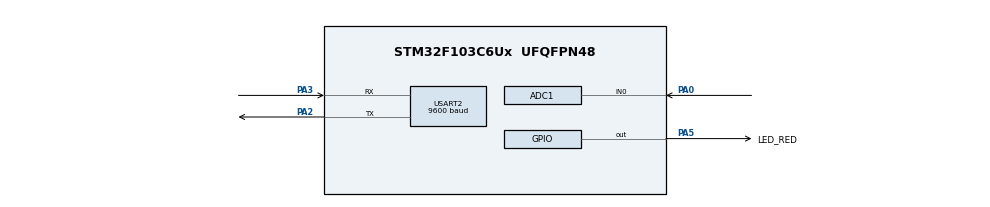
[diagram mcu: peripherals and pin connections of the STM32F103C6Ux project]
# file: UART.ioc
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ADC1.Channel-0\#ChannelRegularConversion=ADC_CHANNEL_0
ADC1.ContinuousConvMode=ENABLE
ADC1.NbrOfConversionFlag=1
ADC1.Rank-0\#ChannelRegularConversion=1
ADC1.SamplingTime-0\#ChannelRegularConversion=ADC_SAMPLETIME_1CYCLE_5
ADC1.master=1
Mcu.Family=STM32F1
Mcu.Name=STM32F103C6Ux
Mcu.Package=UFQFPN48
NVIC.PriorityGroup=NVIC_PRIORITYGROUP_4
NVIC.TIM2_IRQn=true\:0\:0\:false\:false\:true\:true\:true\:true
NVIC.USART2_IRQn=true\:0\:0\:false\:false\:true\:true\:true\:true
PA0-WKUP.Signal=ADCx_IN0
PA2.Mode=Asynchronous
PA2.Signal=USART2_TX
PA3.Mode=Asynchronous
PA3.Signal=USART2_RX
PA5.GPIO_Label=LED_RED
PA5.Signal=GPIO_Output
ProjectManager.HeapSize=0x200
ProjectManager.StackSize=0x400
ProjectManager.TargetToolchain=STM32CubeIDE
RCC.APB1Freq_Value=8000000
RCC.APB2Freq_Value=8000000
SH.ADCx_IN0.0=ADC1_IN0,IN0
TIM2.Period=9
TIM2.Prescaler=7999
USART2.BaudRate=9600
USART2.VirtualMode=VM_ASYNC
VP_SYS_VS_ND.Mode=No_Debug
VP_TIM2_VS_ClockSourceINT.Mode=Internal
board=custom

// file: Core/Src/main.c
/* USER CODE BEGIN Header */
/**
  ******************************************************************************
  * @file           : main.c
  * @brief          : Main program body
  ******************************************************************************
  * @attention
  *
  * <h2><center>&copy; Copyright (c) 2024 STMicroelectronics.
  * All rights reserved.</center></h2>
  *
  * This software component is licensed by ST under BSD 3-Clause license,
  * the "License"; You may not use this file except in compliance with the
  * License. You may obtain a copy of the License at:
  *                        opensource.org/licenses/BSD-3-Clause
  *
  ******************************************************************************
  */
/* USER CODE END Header */
#include "main.h"

/* USER CODE BEGIN Includes */
#include "string.h"
#include "stdio.h"
#include "software_timer.h"
/* USER CODE END Includes */

ADC_HandleTypeDef hadc1;

TIM_HandleTypeDef htim2;

UART_HandleTypeDef huart2;

void SystemClock_Config(void);
static void MX_GPIO_Init(void);
static void MX_ADC1_Init(void);
static void MX_USART2_UART_Init(void);
static void MX_TIM2_Init(void);

/* USER CODE BEGIN 0 */
#define MAX_BUFFER 100
uint8_t temp_char = 0;
uint8_t buffer[MAX_BUFFER];
uint8_t index_buffer = 0;
uint8_t buffer_flag = 0;
uint32_t VALUE_ADC = 0;

uint8_t command_flag= 0; //
uint8_t command_data_idx;
uint8_t command_data[10];

// STATUS
uint8_t command_parser_status = 0 ; // 1 = read command, 0 = nothing
uint8_t uart_communiations_status = 0; // 0 = Nothing , 1 = TRANSMITS

void command_parser_fsm(){		//Xử lý dữ liệu nhận từ UART và nhận diện lệnh.
	switch (command_parser_status){
	case 0:{
		if(temp_char==33){ //!=33
			command_parser_status = 1;
			command_flag= 0;
			for(uint8_t i =0;i<10;i++){
				command_data[i] = 0;
			}
			command_data_idx = 0;
		}
		break;
	}
	case 1:{
		if(temp_char == 35){ // # =35
			command_parser_status = 0;
			command_flag= 1;
		}
		if(temp_char == 33){
			for(uint8_t i =0;i<=command_data_idx;i++){
				command_data[i] = 0;
			}
			command_data_idx=0;
		}
		if(temp_char != 35 && temp_char != 33){ //nội dung nhập
			command_data[command_data_idx++]=temp_char;
		}
		break;
	}
	default : break;
}
}

void uart_communiation_fsm(){
	char str[50];
	switch (uart_communiations_status){
		case 0:
			if(command_flag ==1){
				command_flag=0;
				if(!strcmp((const char *)command_data, "RST")){
					HAL_UART_Transmit(&huart2, (const uint8_t *)"\n\r",2, 100);
					HAL_ADC_Start(&hadc1);
					VALUE_ADC = HAL_ADC_GetValue(&hadc1);
					sprintf(str, "!ADC=%ld#\n\r", VALUE_ADC);
					HAL_UART_Transmit(&huart2, (uint8_t*)str, strlen(str), 100);
					uart_communiations_status = 1;
					setTimer0(300);
				}
				else{
					HAL_UART_Transmit(&huart2, (const uint8_t *)"Command not valid\n\r",18, 100);
				}
			}

			break;
		case 1:
			if(command_flag == 1 && strcmp((const char *)command_data, "OK")==0){
				HAL_UART_Transmit(&huart2, (const uint8_t *)" Xin chao thay Dat dep trai\n\r",50, 100);
				command_flag=0;
				uart_communiations_status = 0;
			}
			if(timer0_flag==1){
				setTimer0(300);
				char str[20];
				sprintf(str, "!ADC=%ld#\n\r", VALUE_ADC);
				HAL_UART_Transmit(&huart2, (uint8_t*)str, strlen(str), 100);
			}
			break;

		default :
			break;
	};
}

/* USER CODE END 0 */

int main(void)
{

  /* MCU Configuration--------------------------------------------------------*/

  /* Reset of all peripherals, Initializes the Flash interface and the Systick. */
  HAL_Init();

  /* Configure the system clock */
  SystemClock_Config();

  /* Initialize all configured peripherals */
  MX_GPIO_Init();
  MX_ADC1_Init();
  MX_USART2_UART_Init();
  MX_TIM2_Init();
  /* USER CODE BEGIN 2 */
  HAL_ADC_Start(&hadc1);
  HAL_TIM_Base_Start_IT (& htim2 );
  HAL_UART_Receive_IT (& huart2 , &temp_char , 1);
  //HAL_TIM_Base_Start_IT (& htim2 );
  setTimer0(100);
  /* USER CODE END 2 */

  /* Infinite loop */
  while (1)
  {

    /* USER CODE BEGIN 3 */
  	  if(buffer_flag == 1){
  		  command_parser_fsm();
  		  buffer_flag = 0;
  	  }
  	   uart_communiation_fsm();

  }
  /* USER CODE END 3 */
}

void SystemClock_Config(void)
{
  RCC_OscInitTypeDef RCC_OscInitStruct = {0};
  RCC_ClkInitTypeDef RCC_ClkInitStruct = {0};
  RCC_PeriphCLKInitTypeDef PeriphClkInit = {0};

  /** Initializes the RCC Oscillators according to the specified parameters
  * in the RCC_OscInitTypeDef structure.
  */
  RCC_OscInitStruct.OscillatorType = RCC_OSCILLATORTYPE_HSI;
  RCC_OscInitStruct.HSIState = RCC_HSI_ON;
  RCC_OscInitStruct.HSICalibrationValue = RCC_HSICALIBRATION_DEFAULT;
  RCC_OscInitStruct.PLL.PLLState = RCC_PLL_NONE;
  if (HAL_RCC_OscConfig(&RCC_OscInitStruct) != HAL_OK)
  {
    Error_Handler();
  }

  /** Initializes the CPU, AHB and APB buses clocks
  */
  RCC_ClkInitStruct.ClockType = RCC_CLOCKTYPE_HCLK|RCC_CLOCKTYPE_SYSCLK
                              |RCC_CLOCKTYPE_PCLK1|RCC_CLOCKTYPE_PCLK2;
  RCC_ClkInitStruct.SYSCLKSource = RCC_SYSCLKSOURCE_HSI;
  RCC_ClkInitStruct.AHBCLKDivider = RCC_SYSCLK_DIV1;
  RCC_ClkInitStruct.APB1CLKDivider = RCC_HCLK_DIV1;
  RCC_ClkInitStruct.APB2CLKDivider = RCC_HCLK_DIV1;

  if (HAL_RCC_ClockConfig(&RCC_ClkInitStruct, FLASH_LATENCY_0) != HAL_OK)
  {
    Error_Handler();
  }
  PeriphClkInit.PeriphClockSelection = RCC_PERIPHCLK_ADC;
  PeriphClkInit.AdcClockSelection = RCC_ADCPCLK2_DIV2;
  if (HAL_RCCEx_PeriphCLKConfig(&PeriphClkInit) != HAL_OK)
  {
    Error_Handler();
  }
}

static void MX_ADC1_Init(void)
{

  ADC_ChannelConfTypeDef sConfig = {0};

  /** Common config
  */
  hadc1.Instance = ADC1;
  hadc1.Init.ScanConvMode = ADC_SCAN_DISABLE;
  hadc1.Init.ContinuousConvMode = DISABLE;
  hadc1.Init.DiscontinuousConvMode = DISABLE;
  hadc1.Init.ExternalTrigConv = ADC_SOFTWARE_START;
  hadc1.Init.DataAlign = ADC_DATAALIGN_RIGHT;
  hadc1.Init.NbrOfConversion = 1;
  if (HAL_ADC_Init(&hadc1) != HAL_OK)
  {
    Error_Handler();
  }

  /** Configure Regular Channel
  */
  sConfig.Channel = ADC_CHANNEL_0;
  sConfig.Rank = ADC_REGULAR_RANK_1;
  sConfig.SamplingTime = ADC_SAMPLETIME_1CYCLE_5;
  if (HAL_ADC_ConfigChannel(&hadc1, &sConfig) != HAL_OK)
  {
    Error_Handler();
  }

}

static void MX_TIM2_Init(void)
{

  TIM_ClockConfigTypeDef sClockSourceConfig = {0};
  TIM_MasterConfigTypeDef sMasterConfig = {0};

  htim2.Instance = TIM2;
  htim2.Init.Prescaler = 7999;
  htim2.Init.CounterMode = TIM_COUNTERMODE_UP;
  htim2.Init.Period = 9;
  htim2.Init.ClockDivision = TIM_CLOCKDIVISION_DIV1;
  htim2.Init.AutoReloadPreload = TIM_AUTORELOAD_PRELOAD_DISABLE;
  if (HAL_TIM_Base_Init(&htim2) != HAL_OK)
  {
    Error_Handler();
  }
  sClockSourceConfig.ClockSource = TIM_CLOCKSOURCE_INTERNAL;
  if (HAL_TIM_ConfigClockSource(&htim2, &sClockSourceConfig) != HAL_OK)
  {
    Error_Handler();
  }
  sMasterConfig.MasterOutputTrigger = TIM_TRGO_RESET;
  sMasterConfig.MasterSlaveMode = TIM_MASTERSLAVEMODE_DISABLE;
  if (HAL_TIMEx_MasterConfigSynchronization(&htim2, &sMasterConfig) != HAL_OK)
  {
    Error_Handler();
  }

}

static void MX_USART2_UART_Init(void)
{

  huart2.Instance = USART2;
  huart2.Init.BaudRate = 9600;
  huart2.Init.WordLength = UART_WORDLENGTH_8B;
  huart2.Init.StopBits = UART_STOPBITS_1;
  huart2.Init.Parity = UART_PARITY_NONE;
  huart2.Init.Mode = UART_MODE_TX_RX;
  huart2.Init.HwFlowCtl = UART_HWCONTROL_NONE;
  huart2.Init.OverSampling = UART_OVERSAMPLING_16;
  if (HAL_UART_Init(&huart2) != HAL_OK)
  {
    Error_Handler();
  }

}

static void MX_GPIO_Init(void)
{

  /* GPIO Ports Clock Enable */
  __HAL_RCC_GPIOA_CLK_ENABLE();

}

/* USER CODE BEGIN 4 */
void HAL_TIM_PeriodElapsedCallback(TIM_HandleTypeDef *htim){
	timer_run();
}

void HAL_UART_RxCpltCallback ( UART_HandleTypeDef * huart ){
	 if(huart->Instance == USART2){
	 //HAL_UART_Transmit(&huart2, &temp_char, 1, 50);
		 buffer[index_buffer++] = temp_char;
	 if(index_buffer == 100) index_buffer = 0;
	 	 buffer_flag = 1;
	 	HAL_UART_Receive_IT(&huart2, &temp_char, 1);
	 	HAL_UART_Transmit(&huart2, &temp_char, 1, 50); //1byte
	 }
}

/* USER CODE END 4 */

void Error_Handler(void)
{
  __disable_irq();
  while (1)
  {
  }
}
